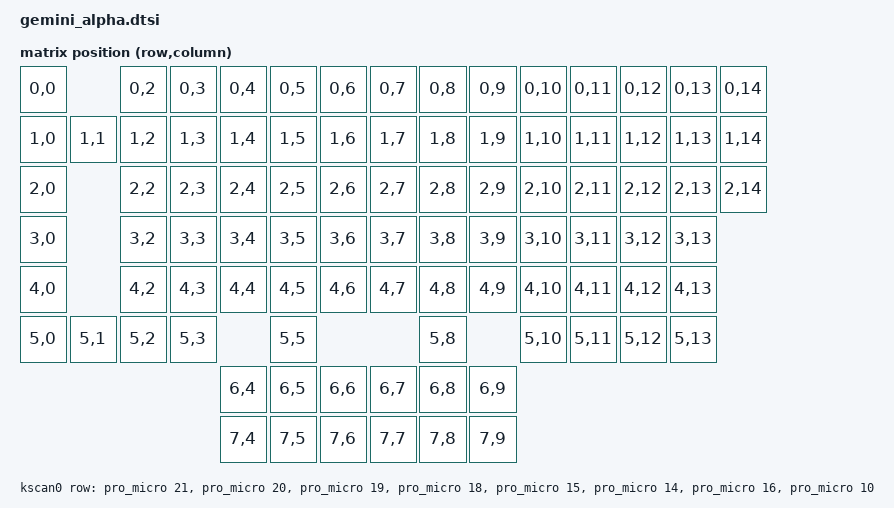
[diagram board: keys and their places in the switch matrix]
#include <dt-bindings/zmk/matrix_transform.h> // Put this with the other includes at the top of your dtsi

/ {
	chosen {
		zmk,physical-layout = &physical_layout0;
		// Other chosen items
	};

	physical_layout0: physical_layout_0 { // First physical layout, use different naming for other layouts
		compatible = "zmk,physical-layout";
		display-name = "Default Layout";
		kscan = <&kscan0>; // Label of the kscan node, optional if all layouts use the same
		transform = <&default_transform>; // Label of the matrix transform for this layout
	};

	default_transform: keymap_transform0 {
		compatible = "zmk,matrix-transform";
		columns = <15>;
		rows = <8>;
		map = <
			RC(0,0)         RC(0,2) RC(0,3) RC(0,4) RC(0,5) RC(0,6)      RC(0,7) RC(0,8) RC(0,9) RC(0,10) RC(0,11) RC(0,12) RC(0,13) RC(0,14)
			RC(1,0) RC(1,1) RC(1,2) RC(1,3) RC(1,4) RC(1,5) RC(1,6)      RC(1,7) RC(1,8) RC(1,9) RC(1,10) RC(1,11) RC(1,12) RC(1,13) RC(1,14)
			RC(2,0)         RC(2,2) RC(2,3) RC(2,4) RC(2,5) RC(2,6)      RC(2,7) RC(2,8) RC(2,9) RC(2,10) RC(2,11) RC(2,12) RC(2,13) RC(2,14)
			RC(3,0)         RC(3,2) RC(3,3) RC(3,4) RC(3,5) RC(3,6)      RC(3,7) RC(3,8) RC(3,9) RC(3,10) RC(3,11) RC(3,12) RC(3,13)
			RC(4,0)         RC(4,2) RC(4,3) RC(4,4) RC(4,5) RC(4,6)      RC(4,7) RC(4,8) RC(4,9) RC(4,10) RC(4,11) RC(4,12) RC(4,13)
			RC(5,0) RC(5,1) RC(5,2) RC(5,3)         RC(5,5)                      RC(5,8)         RC(5,10) RC(5,11) RC(5,12) RC(5,13)
			                                RC(6,4) RC(6,5) RC(6,6)      RC(6,7) RC(6,8) RC(6,9)
											RC(7,4) RC(7,5) RC(7,6)      RC(7,7) RC(7,8) RC(7,9)
		>;
	};

	kscan0: kscan0 {
		compatible = "zmk,kscan-gpio-matrix";
		diode-direction = "col2row";
		wakeup-source;

		row-gpios
			= <&pro_micro 21 (GPIO_ACTIVE_HIGH | GPIO_PULL_DOWN)>
			, <&pro_micro 20 (GPIO_ACTIVE_HIGH | GPIO_PULL_DOWN)>
			, <&pro_micro 19 (GPIO_ACTIVE_HIGH | GPIO_PULL_DOWN)>
			, <&pro_micro 18 (GPIO_ACTIVE_HIGH | GPIO_PULL_DOWN)>
			, <&pro_micro 15 (GPIO_ACTIVE_HIGH | GPIO_PULL_DOWN)>
			, <&pro_micro 14 (GPIO_ACTIVE_HIGH | GPIO_PULL_DOWN)>
			, <&pro_micro 16 (GPIO_ACTIVE_HIGH | GPIO_PULL_DOWN)>
			, <&pro_micro 10 (GPIO_ACTIVE_HIGH | GPIO_PULL_DOWN)>
			;
	};
};
